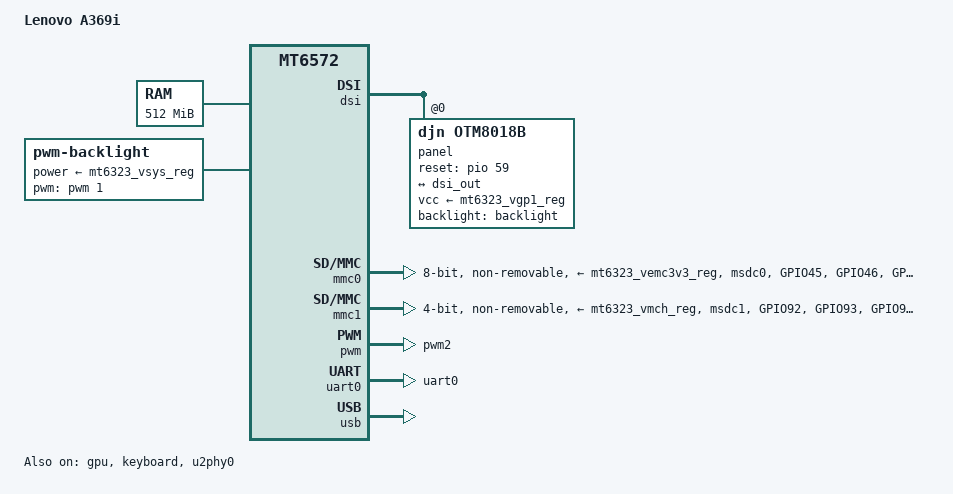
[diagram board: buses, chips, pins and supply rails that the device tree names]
// SPDX-License-Identifier: GPL-2.0
/*
 * Copyright (c) 2025 Max Shevchenko <wctrl@proton.me>
 */

/dts-v1/;
#include <dt-bindings/gpio/gpio.h>
#include <dt-bindings/input/input.h>
#include "mt6572.dtsi"
#include "mt6323.dtsi"

/ {
	model = "Lenovo A369i";
	compatible = "lenovo,a369i", "mediatek,mt6572";

	aliases {
		serial0 = &uart0;
	};

	chosen {
		#address-cells = <1>;
		#size-cells = <1>;
		stdout-path = "serial0:921600n8";
	};

	memory@80000000 {
		device_type = "memory";
		reg = <0x80000000 0x20000000>;
	};

	reserved-memory {
		#address-cells = <1>;
		#size-cells = <1>;
		ranges;

		framebuffer_reserved: framebuffer@9fa00000 {
			reg = <0x9fa00000 0x600000>;
			no-map;
		};
	};

	backlight: backlight {
		compatible = "pwm-backlight";
		pwms = <&pwm 1 31250>;

		power-supply = <&mt6323_vsys_reg>;

		brightness-levels = <0 1023>;
		num-interpolated-steps = <1023>;
		default-brightness-level = <512>;
	};
};

&cpu0 {
	proc-supply = <&mt6323_vproc_reg>;
};

&cpu1 {
	proc-supply = <&mt6323_vproc_reg>;
};

&dsi {
        #address-cells = <1>;
        #size-cells = <0>;
        status = "okay";

        panel@0 {
		compatible = "djn,otm8018b";
		reg = <0>;
		vcc-supply = <&mt6323_vgp1_reg>;

		pinctrl-names = "default";
		pinctrl-0 = <&panel_pins>;

		backlight = <&backlight>;

		reset-gpios = <&pio 59 GPIO_ACTIVE_HIGH>;

		port {
			panel_in: endpoint {
				remote-endpoint = <&dsi_out>;
			};
		};
        };
};

&dsi_out {
	remote-endpoint = <&panel_in>;
};

&gpu {
	assigned-clocks = <&topckgen CLK_TOP_MFG_SEL>,
			  <&topckgen CLK_TOP_MFG_PRE_SEL>;
	assigned-clock-parents = <&topckgen CLK_TOP_MFG_PRE_500M>,
				 <&topckgen CLK_TOP_MFG_SEL>;

	operating-points-v2 = <&gpu_opp_table>;

	status = "okay";
};

&keyboard {
	pinctrl-0 = <&keypad_pins>;
	pinctrl-names = "default";
	status = "okay";

	debounce-delay-ms = <32>;
	keypad,num-rows = <1>;
	keypad,num-columns = <3>;
	linux,keymap = <MATRIX_KEY(0, 1, KEY_DOWN)
			MATRIX_KEY(0, 2, KEY_UP)>;
};

&mmc0 {
	bus-width = <8>;
	max-frequency = <200000000>;
	mmc-ddr-1_8v;
	cap-mmc-highspeed;
	non-removable;
	no-sd;
	no-sdio;

	vmmc-supply = <&mt6323_vemc3v3_reg>;
	vqmmc-supply = <&mt6323_vio18_reg>;
	pinctrl-0 = <&mmc0_pins_default>;
	pinctrl-1 = <&mmc0_pins_uhs>;
	pinctrl-names = "default", "state_uhs";

	assigned-clocks = <&topckgen CLK_TOP_MSDC0_SEL>;
	assigned-clock-parents = <&topckgen CLK_TOP_MAINPLL_D10>;

	status = "okay";
};

&mmc1 {
	bus-width = <4>;
	max-frequency = <200000000>;
	sd-uhs-sdr12;
	sd-uhs-sdr25;
	sd-uhs-sdr50;
	sd-uhs-sdr104;
	sd-uhs-ddr50;
	cap-sd-highspeed;
	non-removable;
	no-mmc;
	no-sdio;

	vmmc-supply = <&mt6323_vmch_reg>;
	vqmmc-supply = <&mt6323_vmc_reg>;
	pinctrl-0 = <&mmc1_pins_default>;
	pinctrl-1 = <&mmc1_pins_uhs>;
	pinctrl-names = "default", "state_uhs";

	assigned-clocks = <&topckgen CLK_TOP_MSDC1_SEL>;
	assigned-clock-parents = <&topckgen CLK_TOP_MAINPLL_D10>;

	status = "okay";
};

&pio {
	backlight_pins: backlight-pins {
		mux {
			function = "pwm2";
			groups = "pwm2";
		};
	};

	keypad_pins: keypad-pins {
		mux {
			function = "keypad";
			groups = "kcol1", "kcol2";
		};
	};

	mmc0_pins_default: mmc0-default-pins {
		mux {
			function = "msdc0";
			groups = "msdc0";
		};
	
		conf-cmd-dat {
			pins = "GPIO45", "GPIO46", "GPIO47", "GPIO48",
			       "GPIO49", "GPIO50", "GPIO51", "GPIO52",
			       "GPIO53";
			input-enable;
			input-schmitt-enable;
			drive-strength = <6>;
			bias-pull-up = <MTK_PUPD_SET_R1R0_01>;
		};

		conf-clk {
			pins = "GPIO44";
			drive-strength = <6>;
			bias-pull-down = <MTK_PUPD_SET_R1R0_10>;
		};

		pins-rst {
			pins = "GPIO54";
			drive-strength = <6>;
			bias-pull-up;
		};
	};

	mmc0_pins_uhs: mmc0-uhs-pins {
		mux {
			function = "msdc0";
			groups = "msdc0";
		};
	
		conf-cmd-dat {
			pins = "GPIO45", "GPIO46", "GPIO47", "GPIO48",
			       "GPIO49", "GPIO50", "GPIO51", "GPIO52",
			       "GPIO53";
			input-enable;
			input-schmitt-enable;
			drive-strength = <8>;
			bias-pull-up = <MTK_PUPD_SET_R1R0_01>;
		};

		conf-clk {
			pins = "GPIO44";
			drive-strength = <8>;
			bias-pull-down = <MTK_PUPD_SET_R1R0_10>;
		};

		pins-rst {
			pins = "GPIO54";
			drive-strength = <8>;
			bias-pull-up;
		};
	};

	mmc1_pins_default: mmc1-default-pins {
		mux {
			function = "msdc1";
			groups = "msdc1";
		};

		conf-cmd-dat {
			pins = "GPIO92", "GPIO93", "GPIO94", "GPIO95",
			       "GPIO96";
			input-enable;
			input-schmitt-enable;
			drive-strength = <20>;
			bias-pull-up;
			mediatek,tdsel = <5>;
		};

		conf-clk {
			pins = "GPIO91";
			drive-strength = <20>;
			bias-pull-down;
		};
	};

	mmc1_pins_uhs: mmc1-uhs-pins {
		mux {
			function = "msdc1";
			groups = "msdc1";
		};

		conf-cmd-dat {
			pins = "GPIO92", "GPIO93", "GPIO94", "GPIO95",
			       "GPIO96";
			input-enable;
			input-schmitt-enable;
			drive-strength = <28>;
			bias-pull-up;
			mediatek,tdsel = <0>;
		};

		conf-clk {
			pins = "GPIO91";
			drive-strength = <28>;
			bias-pull-down;
		};
	};

	panel_pins: panel-pins {
		mux {
			function = "panel";
			groups = "panel";
		};

		conf-enable {
			pins = "GPIO56";
			bias-disable;
		};

		conf-reset {
			pins = "GPIO59";
			bias-disable;
		};
	};

	pmic_pins: pmic-pins {
		mux {
			function = "pmic";
			groups = "pmic_eint";
		};
	};

	uart0_pins: uart0-pins {
		mux {
			function = "uart";
			groups = "uart0";
		};
	};
};

&pmic {
	pinctrl-0 = <&pmic_pins>;
	pinctrl-names = "default";

	interrupts = <16 IRQ_TYPE_LEVEL_HIGH>;
};

&pwm {
	pinctrl-0 = <&backlight_pins>;
	pinctrl-names = "default";

	status = "okay";
};

&u2phy0 {
	status = "okay";
};

&uart0 {
	pinctrl-0 = <&uart0_pins>;
	pinctrl-names = "default";
	status = "okay";
};

&usb {
	status = "okay";
};
